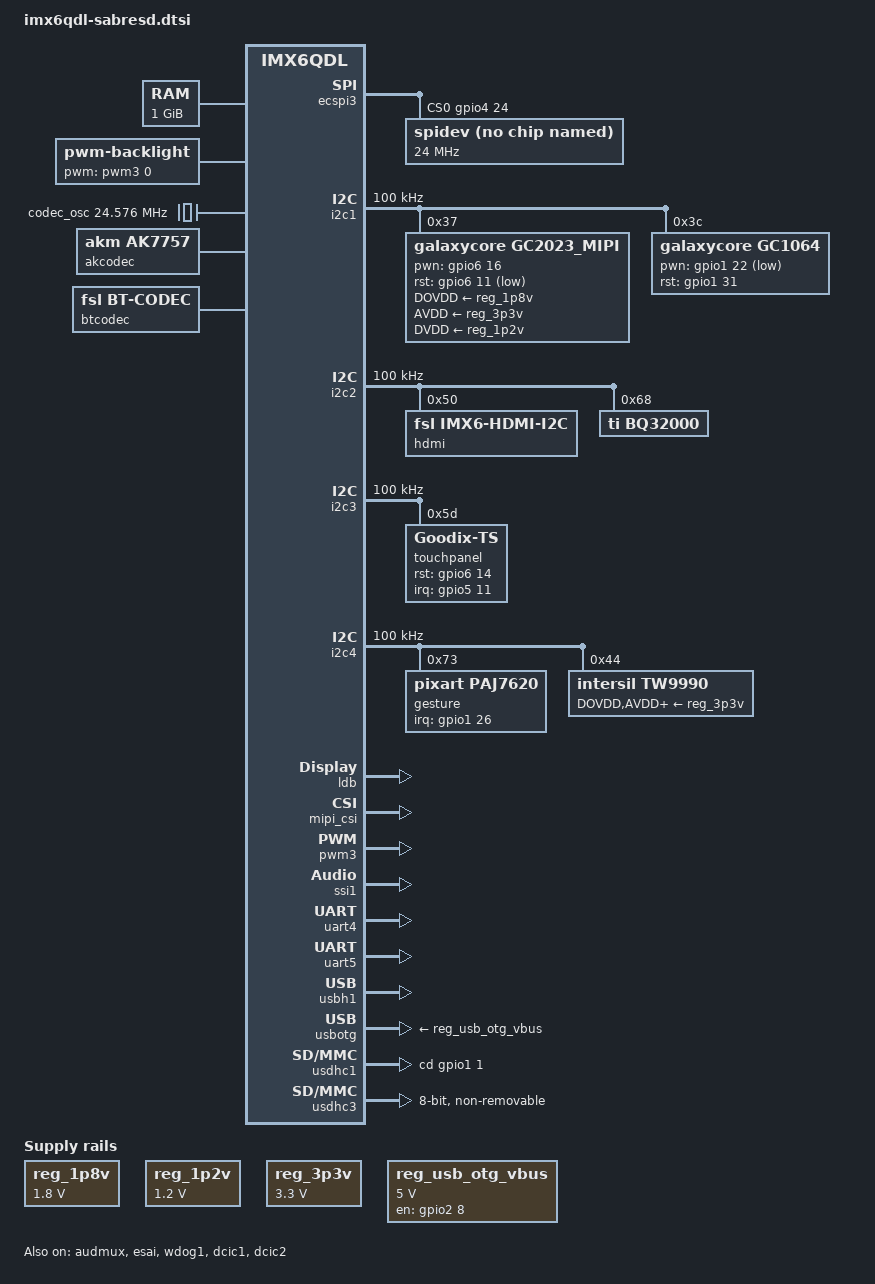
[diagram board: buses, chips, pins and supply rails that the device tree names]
/*
 * Copyright 2012 Freescale Semiconductor, Inc.
 * Copyright 2011 Linaro Ltd.
 *
 * The code contained herein is licensed under the GNU General Public
 * License. You may obtain a copy of the GNU General Public License
 * Version 2 or later at the following locations:
 *
 * http://www.opensource.org/licenses/gpl-license.html
 * http://www.gnu.org/copyleft/gpl.html
 */

/ {
	aliases {
		mxcfb0 = &mxcfb1;
		mxcfb1 = &mxcfb2;
		mxcfb2 = &mxcfb3;
		mxcfb3 = &mxcfb4;
	};

	memory {
		reg = <0x10000000 0x40000000>;
	};

	/*sun Modify ov mipi*/
	regulators {
		compatible = "simple-bus";

		reg_1p8v: 1p8v {
			compatible = "regulator-fixed";
			regulator-name = "1P8V";
			regulator-min-microvolt = <1800000>;
			regulator-max-microvolt= <1800000>;
			regulator-always-on;
	   };

	  /*reg_2p5v: 2p5v {
		    compatible = "regulator-fixed";
			regulator-name = "2P5V";
			regulator-min-microvolt = <2500000>;
			regulator-max-microvolt = <2500000>;
			regulator-always-on;
	   };*/

	   reg_1p2v: 1p2v {
		    compatible = "regulator-fixed";
			regulator-name = "1P2V";
			regulator-min-microvolt = <1200000>;
			regulator-max-microvolt = <1200000>;
			regulator-always-on;
	   };

	   reg_3p3v: 3p3v {
		    compatible = "regulator-fixed";
			regulator-name = "3P3V";
		    regulator-min-microvolt = <3300000>;
			regulator-max-microvolt = <3300000>;
			regulator-always-on;
	  };
	};
/*
	hannstar_cabc {
		compatible = "hannstar,cabc";

		lvds0 {
			gpios = <&gpio6 15 GPIO_ACTIVE_HIGH>;
		};

		lvds1 {
			gpios = <&gpio6 16 GPIO_ACTIVE_HIGH>;
		};
	};
	*/
/*
	leds {
		compatible = "gpio-leds";
	
		led2 {
			label = "heartbeat";
			gpios = <&gpio1 2 0>;
			linux,default-trigger = "heartbeat";
			default-state = "off";
		};
	}; */

/*
	onewire@0 {
		compatible = "w1-gpio";
		pinctrl-names = "default";
		pinctrl-0 = <&pinctrl_w1_gpio>;
		gpios = <&gpio4 10 0>;
		status = "okay";
	};
*/

	regulators {
		compatible = "simple-bus";
		reg_usb_otg_vbus: usb_otg_vbus {
			compatible = "regulator-fixed";
			regulator-name = "usb_otg_vbus";
			regulator-min-microvolt = <5000000>;
			regulator-max-microvolt = <5000000>;
//			gpio = <&gpio3 22 0>;
                     gpio = <&gpio2 8 0>;
			enable-active-high;
		};
		sw1a_reg: sw1ab {
                                regulator-min-microvolt = <300000>;
                                regulator-max-microvolt = <1875000>;
                                regulator-boot-on;
                                regulator-always-on;
                                regulator-ramp-delay = <6250>;
                        };

                        sw1c_reg: sw1c {
                                regulator-min-microvolt = <300000>;
                                regulator-max-microvolt = <1875000>;
                                regulator-boot-on;
                                regulator-always-on;
                                regulator-ramp-delay = <6250>;
                        };

/*
		reg_usb_h1_vbus: usb_h1_vbus {
			compatible = "regulator-fixed";
			regulator-name = "usb_h1_vbus";
			regulator-min-microvolt = <5000000>;
			regulator-max-microvolt = <5000000>;
			gpio = <&gpio1 29 0>;
			enable-active-high;
		};

		reg_audio: wm8962_supply {
			compatible = "regulator-fixed";
			regulator-name = "wm8962-supply";
			gpio = <&gpio4 10 0>;
			enable-active-high;
		};

		reg_mipi_dsi_pwr_on: mipi_dsi_pwr_on {
			compatible = "regulator-fixed";
			regulator-name = "mipi_dsi_pwr_on";
			gpio = <&gpio6 14 0>;
			enable-active-high;
		};

		reg_sensor: sensor_supply {
			compatible = "regulator-fixed";
			regulator-name = "sensor-supply";
			regulator-min-microvolt = <3300000>;
			regulator-max-microvolt = <3300000>;
			gpio = <&gpio2 31 0>;
			startup-delay-us = <500>;
			enable-active-high;
		};
*/
	};

/*
	gpio-keys {
		compatible = "gpio-keys";
		status = "disabled";
		power {
			label = "Power Button";
			gpios = <&gpio3 29 1>;
			linux,code = <116>; /// KEY_POWER
			gpio-key,wakeup;
		};

		volume-up {
			label = "Volume Up";
			gpios = <&gpio1 4 1>;
			linux,code = <115>; /// KEY_VOLUMEUP
		};

		volume-down {
			label = "Volume Down";
			gpios = <&gpio1 5 1>;
			linux,code = <114>; /// KEY_VOLUMEDOWN
		};
	};
*/
/*	
	sound {
		compatible = "fsl,imx-audio-wm8960";
		model = "wm8960-audio";
		ssi-controller = <&ssi2>;
		audio-codec = <&codec>;
		audio-routing =
			"Headphone Jack", "HP_L",
			"Headphone Jack", "HP_R",
			"MICB", "LINPUT1";
		mux-int-port = <2>;
		mux-ext-port = <5>;
///		hp-det-gpios = <&gpio7 8 1>;
///		mic-det-gpios = <&gpio1 9 1>;
	};
*/

	sound-ak7757 {
		compatible = "fsl,imx-audio-ak7757-codec";
		model = "imx-ak7757";
		esai-controller = <&esai>;
		asrc-controller = <&asrc_p2p>;
		audio-codec = <&akcodec>;
	};

	/*sun Modify BT codec*/
	sound-bt {
		compatible = "fsl,imx-audio-bt-codec";
		model = "imx6-wandboard-bt-codec";
		ssi-controller = <&ssi1>;
		audio-codec = <&btcodec>;
		mux-int-port = <1>;
		mux-ext-port = <4>;
	};

	sound-hdmi {
		compatible = "fsl,imx6q-audio-hdmi",
			     "fsl,imx-audio-hdmi";
		model = "imx-audio-hdmi";
		hdmi-controller = <&hdmi_audio>;
	};

	mxcfb1: fb@0 {
		compatible = "fsl,mxc_sdc_fb";
		disp_dev = "ldb";
		interface_pix_fmt = "RGB24";
		default_bpp = <16>;
		int_clk = <0>;
		late_init = <0>;
		status = "disabled";
	};

	mxcfb2: fb@1 {
		compatible = "fsl,mxc_sdc_fb";
		disp_dev = "hdmi";
		interface_pix_fmt = "RGB24";
		mode_str ="1920x1080M@60";
		default_bpp = <24>;
		int_clk = <0>;
		late_init = <0>;
		status = "disabled";
	};

	mxcfb3: fb@2 {
		compatible = "fsl,mxc_sdc_fb";
		disp_dev = "lcd";
		interface_pix_fmt = "RGB24";
		mode_str ="CLAA-WVGA";
		default_bpp = <32>;
		int_clk = <0>;
		late_init = <0>;
		status = "disabled";
	};

	mxcfb4: fb@3 {
		compatible = "fsl,mxc_sdc_fb";
		disp_dev = "ldb";
		interface_pix_fmt = "RGB24";
		default_bpp = <16>;
		int_clk = <0>;
		late_init = <0>;
		status = "disabled";
	};
/*
	lcd: lcd@0 {
		compatible = "fsl,lcd";
		ipu_id = <0>;
		disp_id = <0>;
		default_ifmt = "RGB565";
		pinctrl-names = "default";
		pinctrl-0 = <&pinctrl_ipu1_1>;
		status = "okay";
	};
*/
	backlight: bl@0 {
		compatible = "pwm-backlight";
		pwms = <&pwm3 0 5000000>;
		brightness-levels = <0 4 8 16 32 64 128 255>;
		default-brightness-level = <7>;
	};

	v4l2_cap_0 {
		compatible = "fsl,imx6q-v4l2-capture";
		ipu_id = <0>;
		csi_id = <0>;
		mclk_source = <0>;
		//sun modify gc1064
		//status = "disabled";
		status = "okay";
	};

	v4l2_cap_1 {
		compatible = "fsl,imx6q-v4l2-capture";
		ipu_id = <0>;
		csi_id = <1>;
		mclk_source = <0>;
		/* sun Modify: ov mipi */
	//	status = "okay";
		status = "disabled";  // temporary disabled for mipi 
	};

	v4l2_out {
		compatible = "fsl,mxc_v4l2_output";
		status = "okay";
	};
/*
	mipi_dsi_reset: mipi-dsi-reset {
		compatible = "gpio-reset";
		reset-gpios = <&gpio6 11 GPIO_ACTIVE_LOW>;
		reset-delay-us = <50>;
		#reset-cells = <0>;
		status = "disabled";
	};
	*/

	clocks {
		codec_osc: anaclk2 {
			compatible = "fixed-clock";
			#clock-cells = <0>;
			clock-frequency = <24576000>;
			//clock-frequency = <3072000>;
		};
	};

	akcodec: ak7757-codec {
		compatible = "akm,ak7757";
		clocks = <&codec_osc 0>;
		clock-names = "mclk";
	};

	btcodec: bt-codec-pcm {
		compatible = "fsl,bt-codec";
	};
};


&audmux {
	pinctrl-names = "default";
	pinctrl-0 = <&pinctrl_audmux_1>;
	status = "okay";
};

&esai {
	pinctrl-names = "default";
	pinctrl-0 = <&pinctrl_esai_3>;
	status = "okay";
};

&cpu0 {
	arm-supply = <&sw1a_reg>;
	soc-supply = <&sw1c_reg>;
	pu-supply = <&pu_dummy>; /* use pu_dummy if VDDSOC share with VDDPU */
};

/*
&ecspi1 {
	fsl,spi-num-chipselects = <1>;
	cs-gpios = <&gpio2 30 0>;
	pinctrl-names = "default";
	pinctrl-0 = <&pinctrl_ecspi1_1>;
	status = "okay";

	flash: m25p32@0 {
		#address-cells = <1>;
		#size-cells = <1>;
		compatible = "winbond,w25q32";
		spi-max-frequency = <20000000>;
		reg = <0>;
	};

	spidev: spidev@0 {
		spi-max-frequency = <24000000>;  
		reg = <0>;  
		compatible = "rohm,dh2228fv"; 		
	};
};
*/

&ecspi3 {
	fsl,spi-num-chipselects = <1>;
	cs-gpios = <&gpio4 24 0>;
	pinctrl-names = "default";
	pinctrl-0 = <&pinctrl_ecspi3_1>;
	status = "okay";

	spidev: spidev@0 {
		spi-max-frequency = <24000000>;  
		reg = <0>;  
		compatible = "rohm,dh2228fv"; 		
	};
};

/*
&fec {
	pinctrl-names = "default";
	pinctrl-0 = <&pinctrl_enet_1>;
	phy-mode = "rgmii";
	status = "okay";
};
*/

&gpc {
	fsl,cpu_pupscr_sw2iso = <0xf>;
	fsl,cpu_pupscr_sw = <0xf>;
	fsl,cpu_pdnscr_iso2sw = <0x1>;
	fsl,cpu_pdnscr_iso = <0x1>;
	fsl,ldo-bypass = <1>; /* use ldo-bypass, u-boot will check it and configure */
	fsl,wdog-reset = <1>; /* watchdog select of reset source */
	pu-supply = <&pu_dummy>; /* ldo-bypass:use pu_dummy if VDDSOC share with VDDPU */
};

&wdog1 {
	status = "okay";
};

&wdog2 {
	status = "disabled";
};

&gpu {
	pu-supply = <&pu_dummy>; /* ldo-bypass:use pu_dummy if VDDSOC share with VDDPU */
};

&i2c1 {
	clock-frequency = <100000>;
	pinctrl-names = "default";
	pinctrl-0 = <&pinctrl_i2c1_2>;
	status = "okay";

	gc2023_mipi: gc2023_mipi@37 { /// i2c3 driver 
		compatible = "galaxycore,gc2023_mipi";
		reg = <0x37>;
	//	reg = <0x20>;
		clocks = <&clks 201>;
	//	clocks = <&clks 200>;
	//	clocks = <&clks 159>;
		clock-names = "csi_mclk";
		DOVDD-supply = <&reg_1p8v>; /// 1.8v 
		AVDD-supply = <&reg_3p3v>;  /// 3.3v
		DVDD-supply = <&reg_1p2v>;  /// 1.2v

		
		pwn-gpios = <&gpio6 16 0>;   // active low
	       rst-gpios = <&gpio6 11 1>;   // active high 
		
		//two = <&gpio3 12 0>;
		//eight = <&gpio3 14 0>;
		csi_id = <0>;
		mclk = <24000000>;
		mclk_source = <0>;
		status = "okay";
	};

	/*
	codec: wm8960@1a {
	//	compatible = "wlf,wm8960";
		reg = <0x1a>;
		clocks = <&clks 201>;
		shared_lrclk;
	*/
	/*
		gpio-cfg = <
			0x0000 /// 0:Default
			0x0000 /// 1:Default
			0x0013 /// 2:FN_DMICCLK
			0x0000 /// 3:Default
			0x8014 /// 4:FN_DMICCDAT
			0x0000 /// 5:Default
		>;
*/
	
//       };
/*
	ov564x: ov564x@3c {
		compatible = "ovti,ov564x";
		reg = <0x3c>;
		pinctrl-names = "default";
		pinctrl-0 = <&pinctrl_ipu1_2>;
		clocks = <&clks 201>;
		clock-names = "csi_mclk";
		DOVDD-supply = <&vgen4_reg>; // 1.8v
		AVDD-supply = <&vgen3_reg>;  // 2.8v, on rev C board is VGEN3,
					     // on rev B board is VGEN5
		DVDD-supply = <&vgen2_reg>;  // 1.5v
		pwn-gpios = <&gpio1 16 1>;   // active low: SD1_DAT0
		rst-gpios = <&gpio1 17 0>;   // active high: SD1_DAT1
		csi_id = <0>;
		mclk = <24000000>;
		mclk_source = <0>;
		status = "disabled";
	};

	mma8451@1c {
		compatible = "fsl,mma8451";
		reg = <0x1c>;
		position = <0>;
///		vdd-supply = <&reg_sensor>;
///		vddio-supply = <&reg_sensor>;
		interrupt-parent = <&gpio1>;
		interrupts = <18 8>;
		interrupt-route = <1>;
		status = "disabled";
	};
*/

gc1064: gc1064@3c {
			compatible = "galaxycore,gc1064";
			reg = <0x3c>;
			pinctrl-names = "default";
			pinctrl-0 = <&pinctrl_ipu1_2>;
			clocks = <&clks 201>;
			clock-names = "csi_mclk";
			pwn-gpios = <&gpio1 22 1>; //active low
			rst-gpios = <&gpio1 31 0>; //active high
			csi_id = <0>;
			mclk = <24000000>;
			mclk_source = <0>;
			status = "okay";
		}; 
};

&i2c2 {
	clock-frequency = <100000>;
	pinctrl-names = "default";
	pinctrl-0 = <&pinctrl_i2c2_2>;
	status = "okay";

	hdmi: edid@50 {
		compatible = "fsl,imx6-hdmi-i2c";
		reg = <0x50>;
	};

	bq32000: rtc@68{
		compatible = "ti,bq32000";
		reg = <0x68>;
		trickle-resistor-ohmx = <1120>;
	 //      trickle-resistor-ohmx = <20180>;
		status = "okay";
		};
/*
	max11801@48 {
		compatible = "maxim,max11801";
		reg = <0x48>;
		interrupt-parent = <&gpio3>;
		interrupts = <26 2>;
		work-mode = <1>;///DCM mode
		status = "disabled";
	};

	ov5640_mipi: ov5640_mipi@3c { /// i2c2 driver 
		compatible = "ovti,ov5640_mipi";
		reg = <0x3c>;
		clocks = <&clks 201>;
		clock-names = "csi_mclk";
		DOVDD-supply = <&vgen4_reg>; /// 1.8v 
		AVDD-supply = <&vgen3_reg>;  /// 2.8v, rev C board is VGEN3
						rev B board is VGEN5 
		DVDD-supply = <&vgen2_reg>;  /// 1.5v
		pwn-gpios = <&gpio1 19 1>;   /// active low: SD1_CLK 
		rst-gpios = <&gpio1 20 0>;   /// active high: SD1_DAT2 
		csi_id = <1>;
		mclk = <24000000>;
		mclk_source = <0>;
		status = "disabled";
	};

        egalax_ts@04 {
                compatible = "eeti,egalax_ts";
                reg = <0x04>;
                interrupt-parent = <&gpio6>;
                interrupts = <8 2>;
                wakeup-gpios = <&gpio6 8 0>;
		status = "disabled";
        };
*/
};

&i2c3 {
        clock-frequency = <100000>;
        pinctrl-names = "default";
        //pinctrl-0 = <&pinctrl_i2c3_5>;
        pinctrl-0 = <&pinctrl_i2c3_3>;
        status = "okay";

		touchpanel:gd11@5d {
			compatible = "Goodix-TS";
			reg = <0x5d>;
			//reg = <0x14>;
			interrupt-parent = <&gpio5>;
			interrupts = <11 2>;
			rst-gpios = <&gpio6 14>;
			irq-gpios = <&gpio5 11>;
			status = "okay";
		};

		/* sun Modify: ov mipi */
/*		ov5640_mipi: ov5640_mipi@6c { /// i2c3 driver 
			compatible = "ovti,ov5640_mipi";
			reg = <0x6c>;
		//	reg = <0x20>;
			clocks = <&clks 201>;
		//	clocks = <&clks 200>;
		//	clocks = <&clks 159>;
			clock-names = "csi_mclk";
			DOVDD-supply = <&reg_1p8v>; /// 1.8v 
			AVDD-supply = <&reg_3p3v>;  /// 3.3v
			DVDD-supply = <&reg_1p2v>;  /// 1.2v
			pwn-gpios = <&gpio3 10 1>;   /// active low: EIM_DA10
			rst-gpios = <&gpio3 11 0>;   /// active high: EIM_DA11 
			two = <&gpio3 12 0>;
			eight = <&gpio3 14 0>;
			csi_id = <1>;
			mclk = <24000000>;
			mclk_source = <0>;
			//status = "disabled";
		};
*/
	/*	rx8025@32 {
			compatible = "rx8025";
			reg = <0x32>;
			status = "okay";
		};
	*/
    /*    touchscreen: tsc2007@48 {
                compatible = "ti,tsc2007";
                reg = <0x48>;
                pinctrl-names = "default";
                pinctrl-0 = <&pinctrl_tsc2007>;
                interrupt-parent = <&gpio6>;
                interrupts = <31 0>;
                gpios = <&gpio6 31 GPIO_ACTIVE_LOW>;
                ti,x-plate-ohms = <619>;
				///ti,fuzzz = <1253>;
                linux,wakeup;
        };*/ 
/*
        egalax_ts@04 {
                compatible = "eeti,egalax_ts";
                reg = <0x04>;
                interrupt-parent = <&gpio6>;
                interrupts = <7 2>;
                wakeup-gpios = <&gpio6 7 0>;
		status = "disabled";
        };

	mag3110@0e {
		compatible = "fsl,mag3110";
		reg = <0x0e>;
		position = <2>;
///		vdd-supply = <&reg_sensor>;
///		vddio-supply = <&reg_sensor>;
		interrupt-parent = <&gpio3>;
		interrupts = <16 1>;
		status = "disabled";
	};

	elan@10 {
		compatible = "elan,elan-touch";
		reg = <0x10>;
		interrupt-parent = <&gpio3>;
		interrupts = <28 3>;
		gpio_elan_cs = <&gpio2 18 0>;
		gpio_elan_rst = <&gpio3 8 0>;
		gpio_intr = <&gpio3 28 0>;
		status = "disabled";
	};

	isl29023@44 {
		compatible = "fsl,isl29023";
		reg = <0x44>;
		rext = <499>;
///		vdd-supply = <&reg_sensor>;
		interrupt-parent = <&gpio3>;
		interrupts = <9 2>;
		status = "disabled";
	};
*/
};

&i2c4 {
	clock-frequency = <100000>;
	pinctrl-names = "default";
	pinctrl-0 = <&pinctrl_i2c4_1>;
	status = "okay";

	gesture: paj7620@73 {
		compatible = "pixart,paj7620";
		reg = <0x73>;
	    interrupt-parent = <&gpio1>;
		interrupts = <26 2>;
		status = "okay";
	};
	
	tw9990: tw9990@44 {
		compatible = "intersil,tw9990";
		reg = <0x44>;
		pinctrl-names = "default";
		pinctrl-0 = <&pinctrl_ipu1_4>;
		clocks = <&clks 200>;
		clock-names = "csi_mclk";
		DOVDD-supply = <&reg_3p3v>;
		AVDD-supply = <&reg_3p3v>;
		DVDD-supply = <&reg_3p3v>;
                PVDD-supply = <&reg_3p3v>;
		csi_id = <1>;
		mclk = <24000000>;
		mclk_source = <0>;
		status = "okay";
	};
};

&iomuxc {
	pinctrl-names = "default";
	pinctrl-0 = <&pinctrl_hog_1>;

	hog {
		pinctrl_hog_1: hoggrp-1 {
			fsl,pins = <
/*				MX6QDL_PAD_GPIO_4__GPIO1_IO04   0x80000000
				MX6QDL_PAD_GPIO_5__GPIO1_IO05   0x80000000
				MX6QDL_PAD_NANDF_D0__GPIO2_IO00 0x80000000
				MX6QDL_PAD_NANDF_D1__GPIO2_IO01 0x80000000
				MX6QDL_PAD_NANDF_D2__GPIO2_IO02 0x80000000
				MX6QDL_PAD_NANDF_D3__GPIO2_IO03 0x80000000
				MX6QDL_PAD_NANDF_ALE__GPIO6_IO08 0x80000000
				MX6QDL_PAD_NANDF_CLE__GPIO6_IO07 0x80000000
				MX6QDL_PAD_GPIO_0__CCM_CLKO1    0x130b0
				MX6QDL_PAD_NANDF_CS2__GPIO6_IO15 0x80000000
	//			MX6QDL_PAD_NANDF_CS3__GPIO6_IO16 0x80000000
				MX6QDL_PAD_EIM_D26__GPIO3_IO26 0x80000000
				MX6QDL_PAD_EIM_CS1__GPIO2_IO24 0x80000000
				MX6QDL_PAD_ENET_RXD0__GPIO1_IO27 0x80000000
				MX6QDL_PAD_EIM_A25__GPIO5_IO02 0x80000000
				MX6QDL_PAD_EIM_D23__GPIO3_IO23 0x80000000
				MX6QDL_PAD_ENET_TXD1__GPIO1_IO29 0x80000000
				*/
		//		MX6QDL_PAD_EIM_D22__GPIO3_IO22  0x80000000
				/*
				MX6QDL_PAD_NANDF_CS0__GPIO6_IO11 0x80000000
				MX6QDL_PAD_NANDF_CS1__GPIO6_IO14 0x80000000
				MX6QDL_PAD_EIM_EB3__GPIO2_IO31 0x80000000
				MX6QDL_PAD_EIM_D16__GPIO3_IO16 0x80000000
				MX6QDL_PAD_EIM_DA9__GPIO3_IO09 0x80000000
				MX6QDL_PAD_GPIO_4__GPIO1_IO04 0x80000000
				MX6QDL_PAD_GPIO_5__GPIO1_IO05 0x80000000
				MX6QDL_PAD_EIM_D29__GPIO3_IO29 0x80000000
				MX6QDL_PAD_SD3_RST__GPIO7_IO08 0x80000000
				MX6QDL_PAD_GPIO_9__GPIO1_IO09 0x80000000
				MX6QDL_PAD_GPIO_1__WDOG2_B 0x80000000
				MX6QDL_PAD_GPIO_2__GPIO1_IO02 0x80000000
				MX6QDL_PAD_SD1_CMD__GPIO1_IO18 0x80000000
*/
/*
				MX6QDL_PAD_GPIO_0__CCM_CLKO1    0x030b8

				//sun modify emmc
				MX6QDL_PAD_SD3_CMD__GPIO7_IO02  0x80000000
                                MX6QDL_PAD_SD3_CLK__GPIO7_IO03  0x80000000
                                MX6QDL_PAD_SD3_DAT3__GPIO7_IO07 0x80000000
				MX6QDL_PAD_SD3_DAT1__GPIO7_IO05 0x80000000
*/
				/* sun Modify: ov mipi */
			
                        //      MX6QDL_PAD_EIM_DA10__GPIO3_IO10     0x80000000  /*mipi powerdown*/
                        //      MX6QDL_PAD_EIM_DA11__GPIO3_IO11     0x80000000  /*mipi reset*/

			        MX6QDL_PAD_NANDF_CS0__GPIO6_IO11    0x0001b0b0   // mipi rst   can_rst
			        MX6QDL_PAD_NANDF_CS3__GPIO6_IO16    0x0001b0b0   // mipi pwdn  cam_pwdn
				MX6QDL_PAD_NANDF_CS2__CCM_CLKO2     0x000b0       // mipi mclk
			//	MX6QDL_PAD_NANDF_D2__GPIO2_IO02     0x0001b0b0   // mipi avdd3.3v en  ----->  AVDD33 (3.3V)
			//	MX6QDL_PAD_NANDF_D3__GPIO2_IO03     0x0001b0b0   // mipi dovdd1.8v  en  --->  GC2023 IOVDD (1.7 ~ 3.3V)
			//	MX6QDL_PAD_NANDF_D4__GPIO2_IO04     0x0001b0b0   // mipi dvdd1.2v en  --->  GC2023 DVDD (1.8v)
				
                        //      MX6QDL_PAD_EIM_DA12__GPIO3_IO12     0x80000000 //1.8
                        //      MX6QDL_PAD_EIM_DA14__GPIO3_IO14     0x80000000 //1.2

/*				MX6QDL_PAD_GPIO_1__SD1_CD_B         0x80000000 */
			
				MX6QDL_PAD_GPIO_1__GPIO1_IO01       0x80000000
				
				MX6QDL_PAD_DISP0_DAT18__GPIO5_IO12  0x80000000 //LCD_STB
				MX6QDL_PAD_GPIO_3__GPIO1_IO03       0x80000000 //LCD_RST
				MX6QDL_PAD_GPIO_9__GPIO1_IO09       0x80000000 //lcd-pwr-en
				MX6QDL_PAD_GPIO_19__GPIO4_IO05      0x80000000 //back_led_en

				MX6QDL_PAD_NANDF_CS1__GPIO6_IO14    0x80000000 //touch rst
				MX6QDL_PAD_DISP0_DAT17__GPIO5_IO11  0x80000000 //touch irq
				MX6QDL_PAD_NANDF_ALE__GPIO6_IO08    0x80000000 //bluetooth_reset

				MX6QDL_PAD_DISP0_DAT3__GPIO4_IO24   0x80000000 //spi3_cs
				MX6QDL_PAD_DISP0_DAT4__GPIO4_IO25   0x80000000 //au_rst

				MX6QDL_PAD_NANDF_D5__GPIO2_IO05     0x80000000 //au_pwr_en
				MX6QDL_PAD_SD4_DAT2__GPIO2_IO10     0x80000000 //sp_pwr_en

				MX6QDL_PAD_DISP0_DAT20__GPIO5_IO14  0x80000000 //sp_mode
				MX6QDL_PAD_DISP0_DAT21__GPIO5_IO15  0x80000000 //sp_sd
				MX6QDL_PAD_DISP0_DAT22__GPIO5_IO16  0x80000000 //sp_mute
				MX6QDL_PAD_SD4_DAT0__GPIO2_IO08     0x0001b0b0
				MX6QDL_PAD_NANDF_D0__GPIO2_IO00     0x0001b0b0
				MX6QDL_PAD_NANDF_D1__GPIO2_IO01     0x0001b0b0

			        MX6QDL_PAD_NANDF_WP_B__GPIO6_IO09   0x0001b0b0 
			        MX6QDL_PAD_GPIO_4__GPIO1_IO04       0x0001b0b0

				MX6QDL_PAD_GPIO_0__CCM_CLKO1        0x130b0    //dvp mclk
				MX6QDL_PAD_ENET_MDIO__GPIO1_IO22    0x80000000 //dvp_pwdn
			        MX6QDL_PAD_ENET_MDC__GPIO1_IO31     0x80000000 //dvp_rst 
				
				MX6QDL_PAD_ENET_CRS_DV__GPIO1_IO25  0x80000000 //dvp 2.8v
				MX6QDL_PAD_ENET_REF_CLK__GPIO1_IO23 0x80000000 //dvp 1.8v
			>;
		};
	};
};

&ldb {
	status = "okay";
	dual-mode;
	lvds-channel@0 {
		fsl,data-mapping = "spwg";
		fsl,data-width = <24>;
		status = "okay";
		primary;
		display-timings {
			native-mode = <&timing0>;
			timing0: hsd100pxn1 {
				//clock-frequency = <50650000>;
				clock-frequency = <52590000>;
				//hactive = <1024>;
				hactive = <1600>;
				//vactive = <768>;
				vactive = <480>;
				hback-porch = <16>;
				hfront-porch = <44>;
				vback-porch = <5>;
				vfront-porch = <43>;
				hsync-len = <2>;
				vsync-len = <2>;
			};
		};
	};

	lvds-channel@1 {
		fsl,data-mapping = "spwg";
		fsl,data-width = <18>;
//		primary;
		status = "disabled";

		display-timings {
			native-mode = <&timing1>;
			timing1: hsd100pxn1 {
				clock-frequency = <65000000>;
				hactive = <1024>;
				vactive = <768>;
				hback-porch = <220>;
				hfront-porch = <40>;
				vback-porch = <21>;
				vfront-porch = <7>;
				hsync-len = <60>;
				vsync-len = <10>;
			};
		};
	};
};

&mipi_csi {
	ipu_id = <0>;
	csi_id = <0>;
	v_channel = <0>;
	lanes = <2>;
	status = "okay";
};


/*
&mipi_dsi {
	dev_id = <0>;
	disp_id = <1>;
	lcd_panel = "TRULY-WVGA";
///	disp-power-on-supply = <&reg_mipi_dsi_pwr_on>;
	resets = <&mipi_dsi_reset>;
	status = "disabled";
};
*/

&dcic1 {
	dcic_id = <0>;
	dcic_mux = "dcic-hdmi";
	status = "okay";
};

&dcic2 {
	dcic_id = <1>;
	dcic_mux = "dcic-lvds1";
	status = "okay";
};

&pcie {
///	power-on-gpio = <&gpio3 19 0>;
///	reset-gpio = <&gpio7 12 0>;
	status = "disabled";
};

/// lcd backlight
/*&pwm1 {
	pinctrl-names = "default";
	pinctrl-0 = <&pinctrl_pwm1_1>;
	status = "okay";
};*/


&pwm3 {
	pinctrl-names = "default";
	pinctrl-0 = <&pinctrl_pwm3_1>;
	status = "okay";
};


/* sun Modify: BT codec */
&ssi1 {
	fsl,mode = "i2s-slave";
	status = "okay";
};


&uart4 {
        pinctrl-names = "default";
        //pinctrl-0 = <&pinctrl_uart4_2>;
        pinctrl-0 = <&pinctrl_uart4_1>;
        status = "okay";
};

&uart5 {
        pinctrl-names = "default";
        //pinctrl-0 = <&pinctrl_uart5_2>;
        pinctrl-0 = <&pinctrl_uart5dte_1>;
//		dma-names = "","tx";
        status = "okay";
	fsl,uart-has-rtscts;
      //fsl,dte-mode;
};

/*
&flexcan1 {
	pinctrl-names = "default";
	pinctrl-0 = <&pinctrl_flexcan1_1>;
	status = "okay";
};
*/
/*
&flexcan2 {
	pinctrl-names = "default";
	pinctrl-0 = <&pinctrl_flexcan2_1>;
	status = "okay";
};
*/

&usbh1 {
///	vbus-supply = <&reg_usb_h1_vbus>;
	status = "okay";
};


&usbotg {
	vbus-supply = <&reg_usb_otg_vbus>;
	pinctrl-names = "default";
//	pinctrl-0 = <&pinctrl_usbotg_1>;   //  pinctrl-0 = <&pinctrl_usbotg_2>  
       pinctrl-0 = <&pinctrl_usbotg_2>;
	disable-over-current;
	status = "okay";
};


&usdhc1 {
		pinctrl-names = "default";
		pinctrl-0 = <&pinctrl_usdhc1_1>;
		cd-gpios = <&gpio1 1 0>;
		no-1-8-v;
		keep-power-in-suspend;
		enable-sdio-wakeup;
		status = "okay";
};


/*
/// tf card
&usdhc2 {
	pinctrl-names = "default";
	pinctrl-0 = <&pinctrl_usdhc2_2>;
	cd-gpios = <&gpio1 4 0>;
	no-1-8-v;
	keep-power-in-suspend;
	enable-sdio-wakeup;
	//status = "okay";
	status = "disabled";
};
*/

//sun modify emmc
&usdhc3 {
	pinctrl-names = "default";
	pinctrl-0 = <&pinctrl_usdhc3_1>;
	bus-width = <8>;
	non-removable;
	no-1-8-v;
	keep-power-in-suspend;
	status = "okay";
};

/*
/// emmc
&usdhc4 {
        pinctrl-names = "default";
        pinctrl-0 = <&pinctrl_usdhc4_1>;
        bus-width = <8>;
        non-removable;
        no-1-8-v;
		keep-power-in-suspend;
    //    status = "okay";
	status = "disabled";
};
*/

&vpu {
	pu-supply = <&reg_pu>; /* ldo-bypass:use pu_dummy if VDDSOC share with VDDPU */
};

///nand flash
/*&gpmi {
	pinctrl-names = "default";
	pinctrl-0 = <&pinctrl_gpmi_nand_1>;
	status = "disabled";
};
*/



